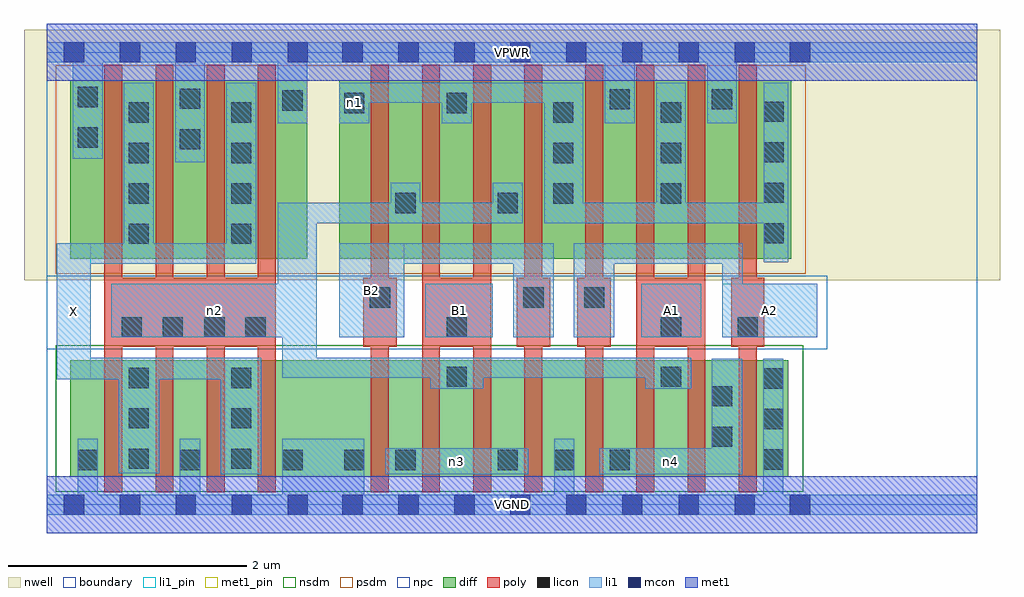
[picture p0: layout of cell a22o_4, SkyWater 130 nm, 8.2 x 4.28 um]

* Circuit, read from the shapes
.subckt a22o_4 A1 A2 B1 B2 VGND VPWR X n1 n2 n3 n4
XM1 X n2 VGND VSUBS sky130_fd_pr__nfet_01v8 w=0.98 l=0.15 m=4
XM2 n3 B2 VGND VSUBS sky130_fd_pr__nfet_01v8 w=0.98 l=0.15 m=2
XM3 n2 B1 n3 VSUBS sky130_fd_pr__nfet_01v8 w=0.98 l=0.15 m=2
XM4 n4 A2 VGND VSUBS sky130_fd_pr__nfet_01v8 w=0.98 l=0.15 m=2
XM5 n2 A1 n4 VSUBS sky130_fd_pr__nfet_01v8 w=0.98 l=0.15 m=2
XM6 X n2 VPWR n5 sky130_fd_pr__pfet_01v8 w=1.5 l=0.15 m=4
XM7 n2 B2 n1 n5 sky130_fd_pr__pfet_01v8 w=1.5 l=0.15 m=2
XM8 n1 B1 n2 n5 sky130_fd_pr__pfet_01v8 w=1.5 l=0.15 m=2
XM9 VPWR A2 n1 n5 sky130_fd_pr__pfet_01v8 w=1.5 l=0.15 m=2
XM10 n1 A1 VPWR n5 sky130_fd_pr__pfet_01v8 w=1.5 l=0.15 m=2
.ends

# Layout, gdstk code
import gdstk
lib = gdstk.Library(unit=1e-6, precision=1e-09)
def R(c, l, rs):  # rectangles x0, y0, x1, y1
    for r in rs: c.add(gdstk.rectangle(r[:2], r[2:], *l))
def A(c, l, x, y, w, h, nx, ny, dx, dy):  # array of equal rectangles
    R(c, l, [(x+i*dx, y+j*dy, x+i*dx+w, y+j*dy+h) for i in range(nx) for j in range(ny)])
nwell = (64, 20)
diff = (65, 20)
poly = (66, 20)
licon = (66, 44)
li1_pin = (67, 16)
li1 = (67, 20)
mcon = (67, 44)
met1_pin = (68, 16)
met1 = (68, 20)
nsdm = (93, 44)
psdm = (94, 20)
npc = (95, 20)
boundary = (235, 4)

a22o_4 = lib.new_cell('a22o_4')
R(a22o_4, nwell, [(-0.19,1.885,8.01,3.99), (0,1.885,7.82,3.99)])
R(a22o_4, diff, [(0.2,0.235,6.23,1.215), (0.2,2.065,2.19,3.565), (2.46,2.065,6.255,3.565)])
A(a22o_4, poly, 0.485, 0.105, 0.15, 3.59, 4, 1, 0.43, 0)
A(a22o_4, poly, 2.725, 0.105, 0.15, 3.59, 4, 1, 0.43, 0)
A(a22o_4, poly, 4.525, 0.105, 0.15, 3.59, 4, 1, 0.43, 0)
R(a22o_4, poly, [(0.485,1.325,1.925,1.905), (2.66,1.325,2.94,1.905), (3.155,1.325,3.735,1.905), (3.95,1.325,4.23,1.905), (4.46,1.325,4.74,1.905), (4.955,1.325,5.535,1.905), (5.75,1.325,6.03,1.905)])
A(a22o_4, licon, 0.26, 0.29, 0.17, 0.17, 3, 1, 0.86, 0)
A(a22o_4, licon, 6.02, 0.295, 0.17, 0.17, 1, 3, 0, 0.34)
A(a22o_4, licon, 0.69, 0.3, 0.17, 0.17, 1, 3, 0, 0.34)
A(a22o_4, licon, 1.55, 0.3, 0.17, 0.17, 1, 3, 0, 0.34)
A(a22o_4, licon, 0.69, 2.19, 0.17, 0.17, 1, 4, 0, 0.34)
A(a22o_4, licon, 1.55, 2.19, 0.17, 0.17, 1, 4, 0, 0.34)
A(a22o_4, licon, 6.025, 2.195, 0.17, 0.17, 1, 4, 0, 0.34)
A(a22o_4, licon, 4.255, 2.53, 0.17, 0.17, 1, 3, 0, 0.34)
A(a22o_4, licon, 5.16, 2.53, 0.17, 0.17, 1, 3, 0, 0.34)
R(a22o_4, licon, [(2.5,0.29,2.67,0.46), (2.93,0.29,3.1,0.46), (3.79,0.29,3.96,0.46), (4.265,0.29,4.435,0.46), (4.73,0.29,4.9,0.46), (5.59,0.485,5.76,0.655), (5.59,0.825,5.76,0.995), (3.36,0.99,3.53,1.16), (5.16,0.99,5.33,1.16), (0.63,1.405,0.8,1.575), (0.975,1.405,1.145,1.575), (1.325,1.405,1.495,1.575), (1.67,1.405,1.84,1.575), (3.36,1.405,3.53,1.575), (5.16,1.405,5.33,1.575), (5.805,1.405,5.975,1.575), (2.715,1.655,2.885,1.825), (4.005,1.655,4.175,1.825), (4.515,1.655,4.685,1.825), (2.93,2.45,3.1,2.62), (3.79,2.45,3.96,2.62), (1.12,2.985,1.29,3.155), (0.26,3,0.43,3.17), (2.5,3.29,2.67,3.46), (3.36,3.29,3.53,3.46), (1.98,3.31,2.15,3.48), (4.73,3.32,4.9,3.49), (5.59,3.32,5.76,3.49), (1.12,3.325,1.29,3.495), (0.26,3.34,0.43,3.51)])
R(a22o_4, li1_pin, [(0.085,1.055,0.37,2.195), (2.46,1.405,3.005,2.195), (3.18,1.405,3.75,1.855), (4.995,1.405,5.5,1.855), (5.675,1.405,6.475,1.855)])
R(a22o_4, li1, [(0,-0.085,7.82,0.085), (0.26,-0.085,0.43,0.555), (1.12,-0.085,1.29,0.555), (1.98,-0.085,2.67,0.555), (4.265,-0.085,4.435,0.555), (6.02,-0.085,6.19,1.225), (1.465,0.255,1.805,1.235), (2.845,0.255,4.045,0.475), (4.645,0.255,5.845,0.475), (5.59,0.255,5.845,1.225), (0.605,0.265,0.945,1.235), (3.225,0.975,3.67,1.235), (5.03,0.975,5.415,1.235), (0.085,1.055,1.805,1.235), (0.085,1.055,0.37,2.195), (1.98,1.065,5.415,1.235), (1.98,1.065,2.27,2.535), (0.545,1.405,2.27,1.855), (1.94,1.405,2.27,2.535), (2.46,1.405,3.005,2.195), (3.18,1.405,3.75,1.855), (3.92,1.405,4.26,2.195), (4.43,1.405,4.77,2.195), (4.995,1.405,5.5,1.855), (5.675,1.405,6.475,1.855), (5.675,1.405,5.85,2.195), (0.085,2.025,1.76,2.195), (0.65,2.025,0.9,3.545), (1.51,2.025,1.76,3.545), (2.46,2.025,4.26,2.195), (4.43,2.025,5.85,2.195), (6.025,2.035,6.23,3.545), (1.94,2.365,4,2.535), (2.89,2.365,3.14,2.705), (3.75,2.365,4,2.705), (4.18,2.365,6.23,2.535), (4.18,2.365,4.51,3.545), (5.12,2.365,5.37,3.545), (1.08,2.875,1.33,3.885), (0.22,2.905,0.47,3.885), (1.94,3.205,2.19,3.885), (2.46,3.205,2.71,3.545), (3.32,3.205,3.57,3.545), (4.69,3.205,4.94,3.885), (5.55,3.205,5.8,3.885), (2.46,3.375,4.51,3.545), (0,3.715,7.82,3.885)])
A(a22o_4, mcon, 0.145, -0.085, 0.17, 0.17, 5, 2, 0.47, 3.8)
A(a22o_4, mcon, 2.485, -0.085, 0.17, 0.17, 6, 2, 0.47, 3.8)
R(a22o_4, mcon, [(5.31,-0.085,5.48,0.085), (5.78,-0.085,5.95,0.085), (6.245,-0.085,6.415,0.085), (5.31,3.715,5.48,3.885), (5.78,3.715,5.95,3.885), (6.245,3.715,6.415,3.885)])
R(a22o_4, met1_pin, [(0,-0.24,7.82,0.24), (0,3.56,7.82,4.04)])
R(a22o_4, met1, [(0,-0.24,7.82,0.24), (0,3.56,7.82,4.04)])
R(a22o_4, nsdm, [(0.075,0.11,6.355,1.34)])
R(a22o_4, psdm, [(0.075,1.94,6.38,3.69)])
R(a22o_4, npc, [(0,1.305,6.56,1.925)])
R(a22o_4, boundary, [(0,0,7.82,3.8)])
a22o_4.add(gdstk.Label('A1', (5.247,1.63), layer=67, texttype=5))
a22o_4.add(gdstk.Label('A2', (6.075,1.63), layer=67, texttype=5))
a22o_4.add(gdstk.Label('B1', (3.465,1.63), layer=67, texttype=5))
a22o_4.add(gdstk.Label('B2', (2.732,1.8), layer=67, texttype=5))
a22o_4.add(gdstk.Label('X', (0.227,1.625), layer=67, texttype=5))
a22o_4.add(gdstk.Label('n3', (3.445,0.365), layer=67, texttype=5))
a22o_4.add(gdstk.Label('n4', (5.245,0.365), layer=67, texttype=5))
a22o_4.add(gdstk.Label('n2', (1.407,1.63), layer=67, texttype=5))
a22o_4.add(gdstk.Label('n1', (2.585,3.375), layer=67, texttype=5))
a22o_4.add(gdstk.Label('VPWR', (3.91,3.8), layer=68, texttype=5))
a22o_4.add(gdstk.Label('VGND', (3.91,0), layer=68, texttype=5))
a22o_4.add(gdstk.Label('A1', (5.247,1.63), layer=67, texttype=16))
a22o_4.add(gdstk.Label('A2', (6.075,1.63), layer=67, texttype=16))
a22o_4.add(gdstk.Label('B1', (3.465,1.63), layer=67, texttype=16))
a22o_4.add(gdstk.Label('B2', (2.732,1.8), layer=67, texttype=16))
a22o_4.add(gdstk.Label('X', (0.227,1.625), layer=67, texttype=16))
a22o_4.add(gdstk.Label('VPWR', (3.91,3.8), layer=68, texttype=16))
a22o_4.add(gdstk.Label('VGND', (3.91,0), layer=68, texttype=16))

lib.write_gds('a22o_4.gds')
